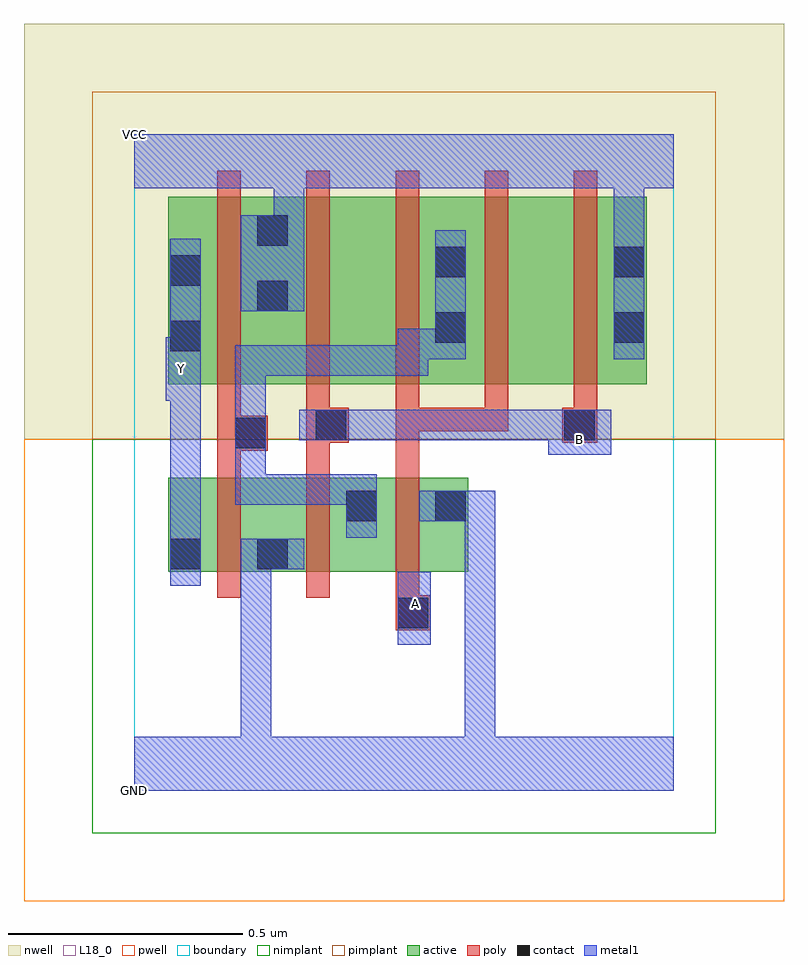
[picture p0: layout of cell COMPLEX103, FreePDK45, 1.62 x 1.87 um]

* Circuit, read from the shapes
.subckt COMPLEX103 A B GND VCC Y
M1 GND n1 Y VSUBS nfet w=0.2u l=0.05u
M2 n1 B GND VSUBS nfet w=0.2u l=0.05u
M3 GND A n1 VSUBS nfet w=0.2u l=0.05u
M4 VCC n1 Y n2 pfet w=0.4u l=0.05u
M5 n3 B VCC n2 pfet w=0.4u l=0.05u
M6 n1 A n3 n2 pfet w=0.4u l=0.05u
M7 n4 A n1 n2 pfet w=0.4u l=0.05u
M8 VCC B n4 n2 pfet w=0.4u l=0.05u
.ends

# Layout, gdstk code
import gdstk
lib = gdstk.Library(unit=1e-6, precision=1e-09)
def R(c, l, rs):  # rectangles x0, y0, x1, y1
    for r in rs: c.add(gdstk.rectangle(r[:2], r[2:], *l))
def A(c, l, x, y, w, h, nx, ny, dx, dy):  # array of equal rectangles
    R(c, l, [(x+i*dx, y+j*dy, x+i*dx+w, y+j*dy+h) for i in range(nx) for j in range(ny)])
active = (1, 0)
pwell = (2, 0)
nwell = (3, 0)
nimplant = (4, 0)
pimplant = (5, 0)
poly = (9, 0)
contact = (10, 0)
metal1 = (11, 0)
L18_0 = (18, 0)
boundary = (235, 0)

complex103 = lib.new_cell('COMPLEX103')
R(complex103, active, [(0.072,0.467,0.147,0.667), (0.072,0.467,0.332,0.667), (0.257,0.467,0.522,0.667), (0.257,0.467,0.332,0.597), (0.447,0.467,0.712,0.667), (0.637,0.467,0.712,0.667), (0.447,0.495,0.522,0.667), (0.072,0.867,0.332,1.267), (0.072,0.867,0.147,1.2), (0.257,0.867,0.487,1.267), (0.487,0.867,0.712,1.267), (0.637,0.867,0.867,1.267), (0.867,0.867,1.092,1.267), (1.017,0.867,1.092,1.205), (0.257,0.907,0.332,1.232), (0.637,0.907,0.712,1.2)])
R(complex103, pwell, [(-0.235,-0.235,1.385,0.75)])
R(complex103, nwell, [(-0.235,0.75,1.385,1.635)])
R(complex103, nimplant, [(-0.09,-0.09,1.24,0.75)])
R(complex103, pimplant, [(-0.09,0.75,1.24,1.49)])
A(complex103, poly, 0.177, 0.412, 0.05, 0.31, 3, 1, 0.19, 0)
A(complex103, poly, 0.367, 0.767, 0.05, 0.095, 4, 1, 0.19, 0)
A(complex103, poly, 0.177, 0.812, 0.05, 0.51, 5, 1, 0.19, 0)
R(complex103, poly, [(0.557,0.342,0.632,0.417), (0.557,0.367,0.607,0.462), (0.177,0.672,0.227,0.775), (0.367,0.672,0.417,0.792), (0.557,0.672,0.607,0.817), (0.177,0.725,0.285,0.8), (0.367,0.742,0.457,0.817), (0.912,0.742,0.987,0.817), (0.177,0.75,0.227,0.862), (0.557,0.767,0.797,0.817), (0.557,0.767,0.607,0.817), (0.557,0.767,0.607,0.817), (0.557,0.767,0.607,0.817), (0.747,0.767,0.797,0.817)])
R(complex103, contact, [(0.562,0.347,0.627,0.412), (0.077,0.472,0.142,0.537), (0.262,0.472,0.327,0.537), (0.452,0.575,0.517,0.64), (0.642,0.575,0.707,0.64), (0.215,0.73,0.28,0.795), (0.387,0.747,0.452,0.812), (0.917,0.747,0.982,0.812), (0.077,0.937,0.142,1.002), (0.642,0.955,0.707,1.02), (1.022,0.955,1.087,1.02), (0.262,1.022,0.327,1.087), (0.077,1.077,0.142,1.142), (0.642,1.095,0.707,1.16), (1.022,1.095,1.087,1.16), (0.262,1.162,0.327,1.227)])
R(complex103, metal1, [(0,0,1.15,0.115), (0.227,0.05,0.292,0.115), (0.227,0.05,0.292,0.115), (0.227,0.05,0.292,0.115), (0.227,0.05,0.292,0.115), (0.227,0.05,0.292,0.115), (0.227,0.05,0.292,0.115), (0.227,0.05,0.292,0.537), (0.705,0.05,0.77,0.115), (0.705,0.05,0.77,0.115), (0.705,0.05,0.77,0.115), (0.705,0.05,0.77,0.115), (0.705,0.05,0.77,0.64), (0.562,0.312,0.632,0.467), (0.077,0.437,0.142,0.572), (0.227,0.472,0.362,0.537), (0.077,0.507,0.142,0.897), (0.452,0.54,0.517,0.675), (0.607,0.575,0.77,0.64), (0.705,0.575,0.77,0.64), (0.705,0.575,0.77,0.64), (0.215,0.61,0.28,0.83), (0.215,0.61,0.28,0.675), (0.215,0.61,0.49,0.675), (0.425,0.61,0.49,0.675), (0.425,0.61,0.517,0.675), (0.215,0.695,0.28,0.83), (0.882,0.717,1.017,0.812), (0.352,0.747,0.487,0.812), (0.422,0.747,0.487,0.812), (0.422,0.747,0.487,0.812), (0.422,0.747,0.627,0.812), (0.562,0.747,0.627,0.812), (0.562,0.747,0.81,0.812), (0.745,0.747,0.81,0.812), (0.745,0.747,0.81,0.812), (0.745,0.747,0.81,0.812), (0.745,0.747,0.947,0.812), (0.882,0.747,0.947,0.812), (0.882,0.747,0.947,0.812), (0.215,0.765,0.28,0.83), (0.215,0.765,0.28,0.83), (0.215,0.765,0.28,0.95), (0.067,0.832,0.142,0.967), (0.215,0.885,0.28,0.95), (0.215,0.885,0.49,0.95), (0.425,0.885,0.49,0.95), (0.425,0.885,0.49,0.95), (0.425,0.885,0.49,0.95), (0.425,0.885,0.627,0.95), (0.562,0.885,0.627,0.985), (0.077,0.902,0.142,1.177), (0.077,0.902,0.142,0.967), (0.562,0.92,0.707,0.985), (0.642,0.92,0.707,1.195), (1.022,0.92,1.087,1.195), (0.227,1.022,0.362,1.227), (1.022,1.13,1.087,1.35), (0.297,1.162,0.362,1.35), (0,1.285,1.15,1.4)])
R(complex103, L18_0, [(0,0,1.15,0.115), (0.227,0.05,0.292,0.115), (0.227,0.05,0.292,0.115), (0.227,0.05,0.292,0.115), (0.227,0.05,0.292,0.115), (0.227,0.05,0.292,0.115), (0.227,0.05,0.292,0.115), (0.227,0.05,0.292,0.537), (0.705,0.05,0.77,0.115), (0.705,0.05,0.77,0.115), (0.705,0.05,0.77,0.115), (0.705,0.05,0.77,0.115), (0.705,0.05,0.77,0.64), (0.562,0.312,0.632,0.467), (0.567,0.367,0.632,0.432), (0.077,0.437,0.142,0.572), (0.227,0.472,0.362,0.537), (0.077,0.507,0.142,0.897), (0.607,0.575,0.77,0.64), (0.705,0.575,0.77,0.64), (0.705,0.575,0.77,0.64), (0.882,0.717,1.017,0.812), (0.917,0.717,0.982,0.782), (0.352,0.747,0.487,0.812), (0.422,0.747,0.487,0.812), (0.422,0.747,0.487,0.812), (0.422,0.747,0.627,0.812), (0.562,0.747,0.627,0.812), (0.562,0.747,0.81,0.812), (0.745,0.747,0.81,0.812), (0.745,0.747,0.81,0.812), (0.745,0.747,0.81,0.812), (0.745,0.747,0.947,0.812), (0.882,0.747,0.947,0.812), (0.882,0.747,0.947,0.812), (0.067,0.832,0.142,0.967), (0.067,0.867,0.132,0.932), (0.077,0.902,0.142,1.177), (0.077,0.902,0.142,0.967), (1.022,0.92,1.087,1.195), (0.227,1.022,0.362,1.227), (1.022,1.13,1.087,1.35), (0.297,1.162,0.362,1.35), (0,1.285,1.15,1.4)])
R(complex103, boundary, [(0,0,1.15,1.4)])
complex103.add(gdstk.Label('A', (0.6,0.4), layer=11, texttype=0))
complex103.add(gdstk.Label('B', (0.95,0.75), layer=11, texttype=0))
complex103.add(gdstk.Label('Y', (0.1,0.9), layer=11, texttype=0))
complex103.add(gdstk.Label('VCC', (0,1.4), layer=11, texttype=0))
complex103.add(gdstk.Label('GND', (0,0), layer=11, texttype=0))

lib.write_gds('COMPLEX103.gds')
